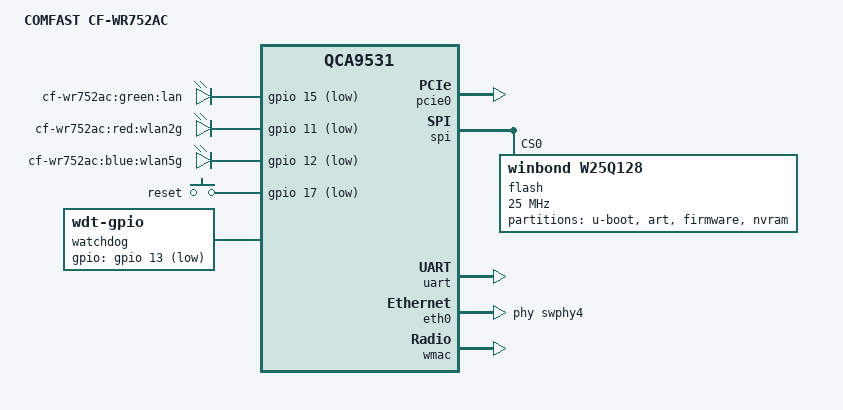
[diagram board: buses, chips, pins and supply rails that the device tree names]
// SPDX-License-Identifier: GPL-2.0-or-later OR MIT
/dts-v1/;

#include <dt-bindings/gpio/gpio.h>
#include <dt-bindings/input/input.h>

#include "qca953x.dtsi"

/ {
	compatible = "comfast,cf-wr752ac", "qca,qca9531";
	model = "COMFAST CF-WR752AC";

	aliases {
		serial0 = &uart;
		led-boot = &lan;
		led-failsafe = &lan;
		led-upgrade = &lan;
	};

	leds {
		compatible = "gpio-leds";

		pinctrl-names = "default";
		pinctrl-0 = <&jtag_disable_pins &led_lan &led_wlan2g>;

		lan: lan {
			label = "cf-wr752ac:green:lan";
			gpios = <&gpio 15 GPIO_ACTIVE_LOW>;
			linux,default-trigger = "netdev";
			trigger-sources = <&eth0>;
			default-state = "on";
		};

		wlan2g {
			label = "cf-wr752ac:red:wlan2g";
			gpios = <&gpio 11 GPIO_ACTIVE_LOW>;
			default-state = "off";
			linux,default-trigger = "phy1tpt";
			panic-indicator;
		};

		wlan5g {
			label = "cf-wr752ac:blue:wlan5g";
			gpios = <&gpio 12 GPIO_ACTIVE_LOW>;
			default-state = "off";
			linux,default-trigger = "phy0tpt";
		};

	};

	keys {
		compatible = "gpio-keys";

		button {
			label = "reset";
			linux,code = <KEY_RESTART>;
			gpios = <&gpio 17 GPIO_ACTIVE_LOW>;
			debounce-interval = <60>;
		};
	};

	watchdog {
		compatible = "linux,wdt-gpio";

		gpios = <&gpio 13 GPIO_ACTIVE_LOW>;
		hw_algo = "toggle";
		hw_margin_ms = <1200>;
		always-running;
	};
};


&pinmux {
	led_lan: pinmux_lan {
		pinctrl-single,bits = <0x0c 0x0 0xff000000>;
	};

	led_wlan2g: pinmux_wlan2g {
		pinctrl-single,bits = <0x08 0x0 0xff000000>;
	};
};

&pcie0 {
	status = "okay";
};

&spi {
	status = "okay";
	num-cs = <1>;

	flash@0 {
		compatible = "winbond,w25q128", "jedec,spi-nor" ;
		reg = <0>;
		spi-max-frequency = <25000000>;

		partitions {
			compatible = "fixed-partitions";
			#address-cells = <1>;
			#size-cells = <1>;

			uboot: partition@0 {
				label = "u-boot";
				reg = <0x000000 0x010000>;
				read-only;
			};

			art: partition@10000 {
				label = "art";
				reg = <0x010000 0x010000>;
				read-only;
			};

			firmware: partition@20000 {
				compatible = "denx,uimage";
				label = "firmware";
				reg = <0x020000 0xfd0000>;
			};

			nvram: partition@ff0000 {
				label = "nvram";
				reg = <0xff0000 0x010000>;
				read-only;
			};
		};
	};
};

&uart {
	status = "okay";
};

&eth0 {
	status = "okay";
	phy-handle = <&swphy4>;
	mtd-mac-address = <&art 0x0>;
};

&eth1 {
	// "Disable" unpopulated GMAC1
	compatible = "syscon", "simple-mfd";
	mtd-mac-address = <&art 0x6>;
};

&wmac {
	status = "okay";
	mtd-cal-data = <&art 0x1000>;
	mtd-mac-address = <&art 0x1002>;
};
